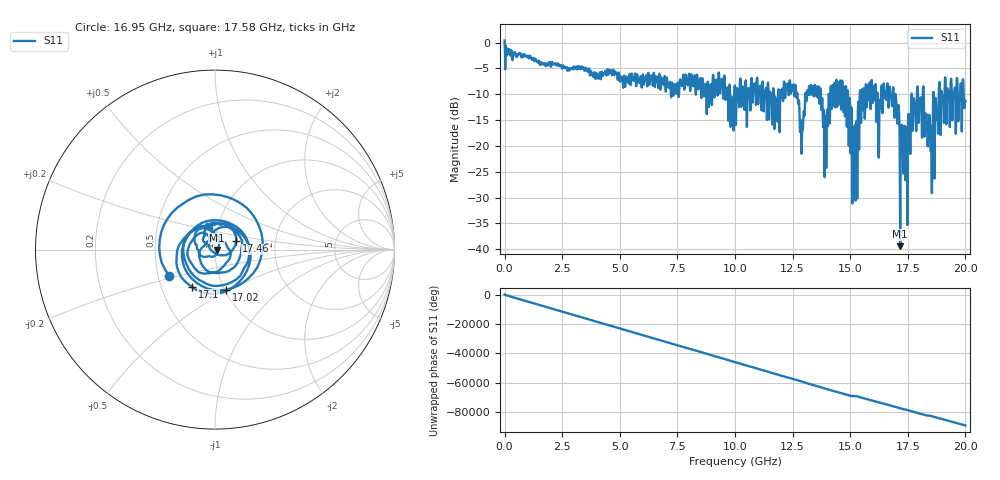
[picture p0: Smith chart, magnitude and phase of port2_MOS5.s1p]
! MS46122B
! 2250307/22442219
! 7/25/2025 1:36:38 PM
! C:\USERS\SPARKY\DOCUMENTS\VNA_DATA\JULY25_2025\3K\PORT2_MOS5.S1P
! CHANNEL.1
! TR.MEASUREMENT
! RAW.DATA
# GHZ S RI R 50.0
! FREQ.GHZ  S11RE  S11IM
!; PortSelection: Port_1
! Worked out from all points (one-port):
!   10001 points, 1 MHz to 20 GHz, reference 50 ohm
!   lowest |S11| = -39.4 dB at 17.17 GHz (marker M1), VSWR 1.02, Z = 51 - j0.266 ohm
!   |S11| at or under -10 dB: 14.91 GHz to 15.42 GHz (509.2 MHz wide, 3.36 % of centre); 16.89 GHz to 17.67 GHz (778.4 MHz wide, 4.51 % of centre); 18.19 GHz to 18.6 GHz (413.2 MHz wide, 2.25 % of centre) (the widest 3 of 91)
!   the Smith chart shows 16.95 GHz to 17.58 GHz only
!   S11 on the Smith chart (normalised r, x): 16.95 GHz: 0.57, -0.18; 17.02 GHz: 1.02, -0.48; 17.1 GHz: 0.72, -0.32; 17.46 GHz: 1.26, +0.12; 17.58 GHz: 0.91, +0.25
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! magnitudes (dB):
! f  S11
! 1 MHz  0.4
! 2.501 GHz  -5.0
! 5.001 GHz  -7.5
! 7.501 GHz  -7.8
! 9.365 GHz  -8.8
! 10 GHz  -8.6
! 12.5 GHz  -9.4
! 12.9 GHz  -20.4
! 13.3 GHz  -8.2
! 13.7 GHz  -9.0
! 13.9 GHz  -19.3
! 14.48 GHz  -7.7
! 15 GHz  -13.9
! 15.22 GHz  -21.2
! 15.76 GHz  -8.3
! 16.22 GHz  -20.4
! 16.53 GHz  -9.4
! 16.95 GHz  -10.6
! 17.02 GHz  -12.7
! 17.1 GHz  -12.2
! 17.17 GHz  -39.4
! 17.46 GHz  -17.9
! 17.5 GHz  -17.7
! 17.58 GHz  -17.2
! 18.1 GHz  -14.3
! 18.47 GHz  -16.2
! 18.94 GHz  -11.9
! 20 GHz  -11.4
